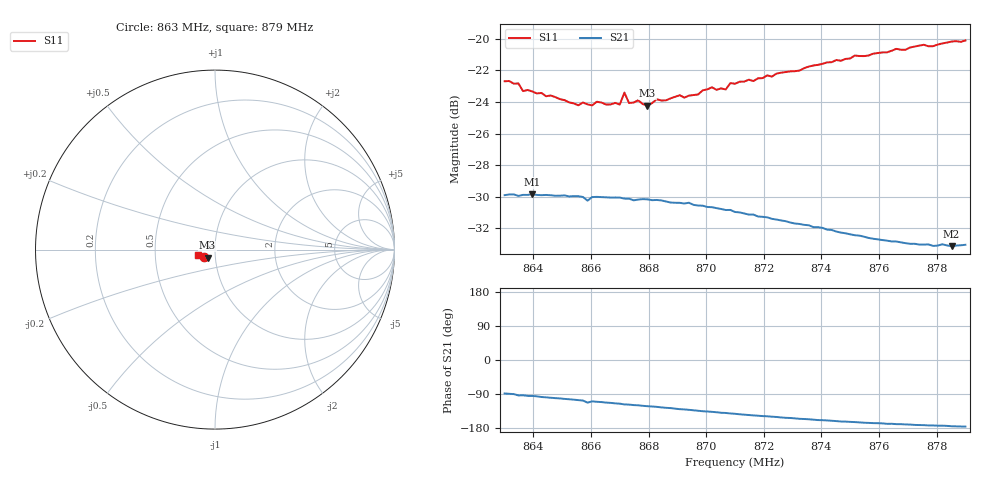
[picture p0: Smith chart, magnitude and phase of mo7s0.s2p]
# HZ S RI R 50
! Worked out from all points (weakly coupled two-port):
!   101 points, 863 MHz to 879 MHz, reference 50 ohm
!   highest |S21| = -29.83 dB at 863.96 MHz (marker M1); lowest = -33.1 dB at 878.52 MHz (marker M2)
!   lowest |S11| = -24.2 dB at 867.96 MHz (marker M3), VSWR 1.13, Z = 45.8 - j4.17 ohm
!   |S11| at or under -10 dB: start of sweep to end of sweep
!   S12 and S22 are empty: the file has one direction only
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8.63e8  -0.0588 -0.0438  0.000895 -0.032  0 0  0 0
8.6396e8  -0.0535 -0.0422  -0.00269 -0.0321  0 0  0 0
8.6556e8  -0.046 -0.041  -0.00869 -0.0306  0 0  0 0
8.6572e8  -0.0459 -0.043  -0.00923 -0.0302  0 0  0 0
8.6588e8  -0.0449 -0.0428  -0.0118 -0.0284  0 0  0 0
8.6604e8  -0.0445 -0.0426  -0.0103 -0.0298  0 0  0 0
8.662e8  -0.0458 -0.0436  -0.0109 -0.0297  0 0  0 0
8.67e8  -0.0429 -0.0447  -0.0134 -0.0285  0 0  0 0
8.6716e8  -0.0493 -0.0462  -0.0143 -0.0278  0 0  0 0
8.6732e8  -0.0439 -0.0447  -0.0145 -0.0276  0 0  0 0
8.6764e8  -0.0437 -0.0466  -0.0153 -0.027  0 0  0 0
8.6796e8  -0.0415 -0.0453  -0.0164 -0.0264  0 0  0 0
8.6844e8  -0.0423 -0.0478  -0.0177 -0.0252  0 0  0 0
8.6972e8  -0.0431 -0.0508  -0.0206 -0.0214  0 0  0 0
8.702e8  -0.0454 -0.0536  -0.0214 -0.0201  0 0  0 0
8.7068e8  -0.0449 -0.0526  -0.0219 -0.0186  0 0  0 0
8.7084e8  -0.0483 -0.0539  -0.0224 -0.0181  0 0  0 0
8.71e8  -0.048 -0.0538  -0.0223 -0.0175  0 0  0 0
8.7372e8  -0.0606 -0.0558  -0.0234 -0.00974  0 0  0 0
8.7644e8  -0.078 -0.0481  -0.0224 -0.00464  0 0  0 0
8.7852e8  -0.0912 -0.0359  -0.022 -0.00201  0 0  0 0
8.79e8  -0.0936 -0.0315  -0.0222 -0.00167  0 0  0 0
